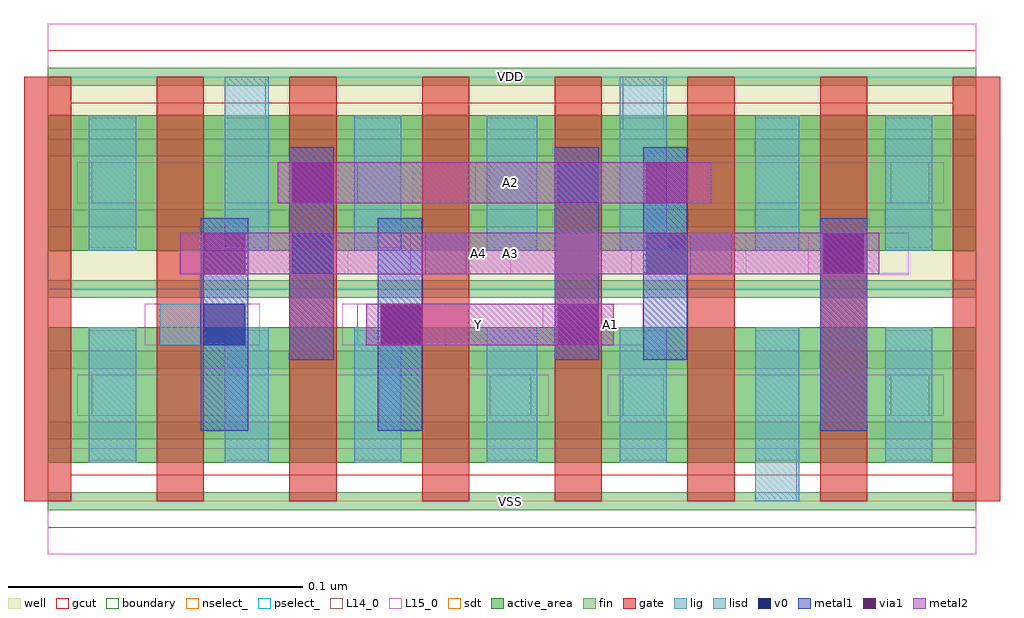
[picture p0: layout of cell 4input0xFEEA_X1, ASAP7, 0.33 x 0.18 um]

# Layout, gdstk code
import gdstk
lib = gdstk.Library(unit=1e-6, precision=1e-09)
def R(c, l, rs):  # rectangles x0, y0, x1, y1
    for r in rs: c.add(gdstk.rectangle(r[:2], r[2:], *l))
def A(c, l, x, y, w, h, nx, ny, dx, dy):  # array of equal rectangles
    R(c, l, [(x+i*dx, y+j*dy, x+i*dx+w, y+j*dy+h) for i in range(nx) for j in range(ny)])
def P(c, l, *ps):  # polygons
    for p in ps: c.add(gdstk.Polygon(p, *l))
well = (1, 0)
fin = (2, 0)
gate = (7, 0)
gcut = (10, 0)
active_area = (11, 0)
nselect_ = (12, 0)
pselect_ = (13, 0)
L14_0 = (14, 0)
L15_0 = (15, 0)
lig = (16, 0)
lisd = (17, 0)
v0 = (18, 0)
metal1 = (19, 0)
metal2 = (20, 0)
via1 = (21, 0)
sdt = (88, 0)
boundary = (100, 0)

c_4input0xfeea_x1 = lib.new_cell('4input0xFEEA_X1')
R(c_4input0xfeea_x1, well, [(0,0.072,0.315,0.144)])
A(c_4input0xfeea_x1, fin, 0, -0.003, 0.315, 0.006, 1, 7, 0, 0.024)
A(c_4input0xfeea_x1, gate, -0.008, 0, 0.016, 0.144, 8, 1, 0.045, 0)
P(c_4input0xfeea_x1, gcut, [(0,-0.009),(0,0),(-0.008,0),(-0.008,0.135),(0.008,0.135),(0.008,0.009),(0.307,0.009),(0.307,0.135),(-0.008,0.135),(-0.008,0.144),(0,0.144),(0,0.153),(0.315,0.153),(0.315,0.144),(0.323,0.144),(0.323,0),(0.315,0),(0.315,-0.009)])
R(c_4input0xfeea_x1, active_area, [(0,0.013,0.315,0.059), (0,0.085,0.315,0.131)])
R(c_4input0xfeea_x1, nselect_, [(0,0,0.315,0.072)])
R(c_4input0xfeea_x1, pselect_, [(0,0.072,0.315,0.144)])
R(c_4input0xfeea_x1, L14_0, [(0.24,0,0.254,0.018), (0.015,0.029,0.03,0.043), (0.15,0.029,0.164,0.043), (0.195,0.029,0.209,0.043), (0.286,0.029,0.299,0.043), (0.038,0.053,0.052,0.067), (0.105,0.053,0.12,0.067), (0.173,0.053,0.187,0.067), (0.083,0.077,0.097,0.091), (0.128,0.077,0.142,0.091), (0.218,0.077,0.232,0.091), (0.263,0.077,0.277,0.091), (0.015,0.101,0.03,0.115), (0.105,0.101,0.12,0.115), (0.15,0.101,0.164,0.115), (0.286,0.101,0.299,0.115), (0.06,0.126,0.074,0.144), (0.195,0.126,0.209,0.144)])
R(c_4input0xfeea_x1, L15_0, [(0,-0.018,0.315,0.018), (0.01,0.029,0.17,0.043), (0.19,0.029,0.304,0.043), (0.033,0.053,0.072,0.067), (0.1,0.053,0.135,0.067), (0.168,0.053,0.202,0.067), (0.068,0.077,0.102,0.091), (0.123,0.077,0.157,0.091), (0.198,0.077,0.237,0.091), (0.258,0.077,0.292,0.091), (0.01,0.101,0.124,0.115), (0.145,0.101,0.304,0.115), (0,0.126,0.315,0.162)])
R(c_4input0xfeea_x1, lig, [(0.038,0.053,0.052,0.067), (0.173,0.053,0.187,0.067), (0.083,0.077,0.097,0.091), (0.128,0.077,0.142,0.091), (0.218,0.077,0.232,0.091), (0.263,0.077,0.277,0.091)])
A(c_4input0xfeea_x1, lisd, 0.014, 0.013, 0.016, 0.046, 4, 1, 0.09, 0)
R(c_4input0xfeea_x1, lisd, [(0.24,0,0.255,0.059), (0.06,0.013,0.075,0.059), (0.149,0.013,0.166,0.059), (0.014,0.085,0.03,0.131), (0.06,0.085,0.075,0.144), (0.104,0.085,0.12,0.131), (0.149,0.085,0.166,0.131), (0.194,0.085,0.21,0.144), (0.24,0.085,0.255,0.131), (0.284,0.085,0.3,0.131)])
R(c_4input0xfeea_x1, v0, [(0.053,0.053,0.067,0.067), (0.113,0.053,0.127,0.067), (0.083,0.077,0.097,0.091), (0.203,0.077,0.217,0.091), (0.263,0.077,0.277,0.091), (0.173,0.101,0.187,0.115)])
R(c_4input0xfeea_x1, metal1, [(0.052,0.024,0.068,0.096), (0.112,0.024,0.127,0.096), (0.262,0.024,0.278,0.096), (0.082,0.048,0.097,0.12), (0.172,0.048,0.187,0.12), (0.202,0.048,0.217,0.12)])
R(c_4input0xfeea_x1, metal2, [(0.108,0.053,0.192,0.067), (0.045,0.077,0.282,0.091), (0.078,0.101,0.225,0.115)])
R(c_4input0xfeea_x1, via1, [(0.113,0.053,0.127,0.067), (0.173,0.053,0.187,0.067), (0.053,0.077,0.067,0.091), (0.263,0.077,0.277,0.091), (0.083,0.101,0.097,0.115), (0.203,0.101,0.217,0.115)])
A(c_4input0xfeea_x1, sdt, 0.014, 0.014, 0.016, 0.044, 4, 2, 0.09, 0.072)
R(c_4input0xfeea_x1, sdt, [(0.06,0.014,0.075,0.058), (0.149,0.014,0.166,0.058), (0.24,0.014,0.255,0.058), (0.06,0.086,0.075,0.13), (0.149,0.086,0.166,0.13), (0.24,0.086,0.255,0.13)])
R(c_4input0xfeea_x1, boundary, [(0,0,0.315,0.144)])
c_4input0xfeea_x1.add(gdstk.Label('VSS', (0.157,0), layer=15, texttype=251))
c_4input0xfeea_x1.add(gdstk.Label('VDD', (0.157,0.144), layer=15, texttype=251))
c_4input0xfeea_x1.add(gdstk.Label('VSS', (0.157,0), layer=15, texttype=251))
c_4input0xfeea_x1.add(gdstk.Label('VDD', (0.157,0.144), layer=15, texttype=251))
c_4input0xfeea_x1.add(gdstk.Label('A4', (0.146,0.084), layer=15, texttype=251))
c_4input0xfeea_x1.add(gdstk.Label('VSS', (0.157,0), layer=15, texttype=251))
c_4input0xfeea_x1.add(gdstk.Label('VDD', (0.157,0.144), layer=15, texttype=251))
c_4input0xfeea_x1.add(gdstk.Label('VSS', (0.157,0), layer=15, texttype=251))
c_4input0xfeea_x1.add(gdstk.Label('VDD', (0.157,0.144), layer=15, texttype=251))
c_4input0xfeea_x1.add(gdstk.Label('A1', (0.191,0.06), layer=15, texttype=251))
c_4input0xfeea_x1.add(gdstk.Label('VSS', (0.157,0), layer=15, texttype=251))
c_4input0xfeea_x1.add(gdstk.Label('VDD', (0.157,0.144), layer=15, texttype=251))
c_4input0xfeea_x1.add(gdstk.Label('Y', (0.146,0.06), layer=20, texttype=251))
c_4input0xfeea_x1.add(gdstk.Label('A3', (0.157,0.084), layer=20, texttype=251))
c_4input0xfeea_x1.add(gdstk.Label('A2', (0.157,0.108), layer=20, texttype=251))
c_4input0xfeea_x1.add(gdstk.Label('VSS', (0.157,0), layer=3, texttype=251))
c_4input0xfeea_x1.add(gdstk.Label('VSS', (0.157,0), layer=3, texttype=251))
c_4input0xfeea_x1.add(gdstk.Label('VSS', (0.157,0), layer=3, texttype=251))
c_4input0xfeea_x1.add(gdstk.Label('VSS', (0.157,0), layer=3, texttype=251))
c_4input0xfeea_x1.add(gdstk.Label('VSS', (0.157,0), layer=3, texttype=251))
c_4input0xfeea_x1.add(gdstk.Label('VDD', (0.157,0.144), layer=1, texttype=251))
c_4input0xfeea_x1.add(gdstk.Label('VDD', (0.157,0.144), layer=1, texttype=251))
c_4input0xfeea_x1.add(gdstk.Label('VDD', (0.157,0.144), layer=1, texttype=251))
c_4input0xfeea_x1.add(gdstk.Label('VDD', (0.157,0.144), layer=1, texttype=251))
c_4input0xfeea_x1.add(gdstk.Label('VDD', (0.157,0.144), layer=1, texttype=251))

lib.write_gds('4input0xFEEA_X1.gds')
